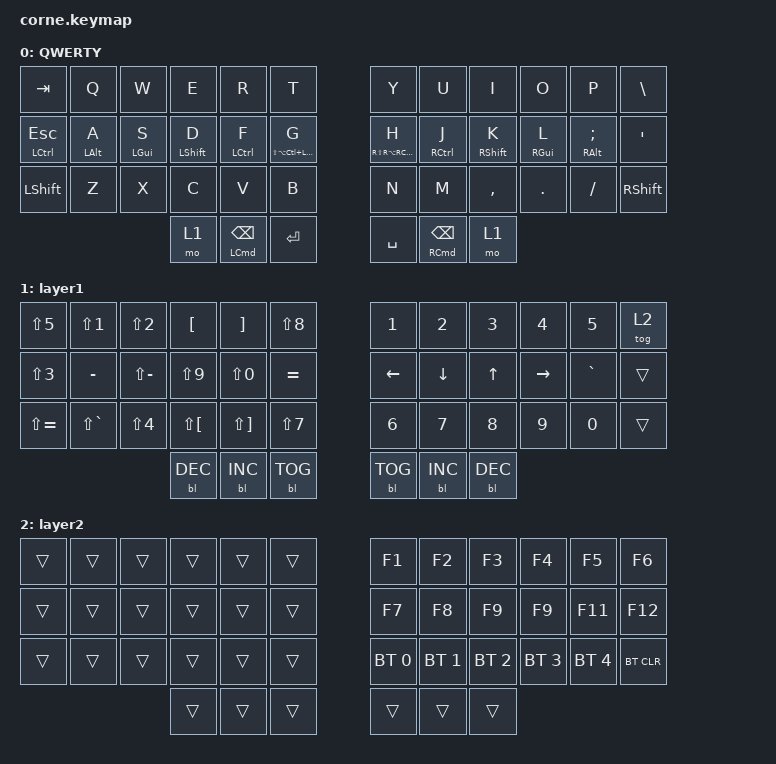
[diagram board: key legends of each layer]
/*
 * Copyright (c) 2020 The ZMK Contributors
 * Jason Biggs
 *
 * SPDX-License-Identifier: MIT
 */

#include <behaviors.dtsi>
#include <dt-bindings/zmk/backlight.h>
#include <dt-bindings/zmk/bt.h>
#include <dt-bindings/zmk/keys.h>

/ {
    /* combos { */
    /*     compatible = "zmk,combos"; */
    /**/
    /*     left-layer2-toggle { */
    /*         bindings = <&tog 2>; */
    /*         key-positions = <37 38>; */
    /*     }; */
    /**/
    /*     right-layer2-toggle { */
    /*         bindings = <&tog 2>; */
    /*         key-positions = <39 40>; */
    /*     }; */
    /* }; */

    behaviors {
        hmr: hmr {
            compatible = "zmk,behavior-hold-tap";
            label = "HMR";
            bindings = <&kp>, <&kp>;

            #binding-cells = <2>;
            tapping-term-ms = <200>;
            quick-tap-ms = <180>;
            flavor = "tap-preferred";
            hold-trigger-on-release;
            hold-trigger-key-positions = <6 7 8 9 10 11 18 19 20 21 22 23 30 31 32 33 34 35 39 40 41 36 37 38>;
        };

        hml: hml {
            compatible = "zmk,behavior-hold-tap";
            label = "HML";
            bindings = <&kp>, <&kp>;

            #binding-cells = <2>;
            hold-trigger-key-positions = <0 1 2 4 5 12 13 14 15 16 17 24 25 26 27 28 29 36 37 38 39 40 41 3>;
            tapping-term-ms = <200>;
            quick-tap-ms = <180>;
            hold-trigger-on-release;
            flavor = "tap-preferred";
        };

        hmrs: hmrs {
            compatible = "zmk,behavior-hold-tap";
            label = "HMRS";
            bindings = <&kp>, <&kp>;

            #binding-cells = <2>;
            quick-tap-ms = <200>;
            tapping-term-ms = <250>;
            flavor = "tap-preferred";
            hold-trigger-on-release;
            hold-trigger-key-positions = <6 7 9 10 11 18 19 20 21 22 23 30 31 32 33 34 35 39 40 41 36 37 38>;
        };

        hmls: hmls {
            compatible = "zmk,behavior-hold-tap";
            label = "HMLS";
            bindings = <&kp>, <&kp>;

            #binding-cells = <2>;
            tapping-term-ms = <250>;
            quick-tap-ms = <200>;
            hold-trigger-key-positions = <0 1 2 3 4 5 12 13 14 15 16 17 24 25 26 27 28 29 36 37 38 39 40 41>;
            hold-trigger-on-release;
            flavor = "tap-preferred";
        };
    };

    combos {
        compatible = "zmk,combos";

        LayerReset {
            bindings = <&to 0>;
            key-positions = <36 41>;
        };

        asdf {
            bindings = <&bt BT_NXT>;
            key-positions = <37 40>;
        };
    };

    keymap {
        compatible = "zmk,keymap";

        QWERTY {
            // -----------------------------------------------------------------------------------------
            // |  TAB |  Q  |  W  |  E  |  R  |  T  |   |  Y  |  U   |  I  |  O  |  P  | BSPC |
            // | CTRL |  A  |  S  |  D  |  F  |  G  |   |  H  |  J   |  K  |  L  |  ;  |  '   |
            // | SHFT |  Z  |  X  |  C  |  V  |  B  |   |  N  |  M   |  ,  |  .  |  /  | ESC  |
            //                    | GUI | LWR | SPC |   | ENT | RSE  | ALT |

            bindings = <
&kp TAB                    &kp Q             &kp W             &kp E              &kp R                         &kp T                          &kp Y                         &kp U                          &kp I               &kp O              &kp P                      &kp BACKSLASH
&hmls LEFT_CONTROL ESCAPE  &hmls LEFT_ALT A  &hmls LEFT_GUI S  &hml LEFT_SHIFT D  &hml LCTRL F                  &hml LS(LA(LC(LEFT_GUI))) G    &hmr RS(RA(RC(RIGHT_GUI))) H  &hmr RCTRL J                   &hmr RIGHT_SHIFT K  &hmrs RIGHT_GUI L  &hmrs RIGHT_ALT SEMICOLON  &kp SQT
&kp LSHFT                  &kp Z             &kp X             &kp C              &kp V                         &kp B                          &kp N                         &kp M                          &kp COMMA           &kp DOT            &kp FSLH                   &kp RIGHT_SHIFT
                                                               &mo 1              &hmls LEFT_COMMAND BACKSPACE  &kp ENTER                      &kp SPACE                     &hmrs RIGHT_COMMAND BACKSPACE  &mo 1
            >;
        };

        layer1 {
            // -----------------------------------------------------------------------------------------
            // |  TAB |  1  |  2  |  3  |  4  |  5  |   |  6  |  7  |  8  |  9  |  0  | BSPC |
            // | BTCLR| BT1 | BT2 | BT3 | BT4 | BT5 |   | LFT | DWN |  UP | RGT |     |      |
            // | SHFT |     |     |     |     |     |   |     |     |     |     |     |      |
            //                    | GUI |     | SPC |   | ENT |     | ALT |

            bindings = <
&kp LS(N5)     &kp LS(N1)     &kp LS(N2)     &kp LBKT      &kp RBKT      &kp LS(N8)    &kp N1      &kp N2      &kp N3      &kp N4     &kp N5     &tog 2
&kp LS(N3)     &kp MINUS      &kp LS(MINUS)  &kp LS(N9)    &kp LS(N0)    &kp EQUAL     &kp LEFT    &kp DOWN    &kp UP      &kp RIGHT  &kp GRAVE  &trans
&kp LS(EQUAL)  &kp LS(GRAVE)  &kp LS(N4)     &kp LS(LBKT)  &kp LS(RBKT)  &kp LS(N7)    &kp N6      &kp N7      &kp N8      &kp N9     &kp N0     &trans
                                             &bl BL_DEC    &bl BL_INC    &bl BL_TOG    &bl BL_TOG  &bl BL_INC  &bl BL_DEC
            >;
        };

        layer2 {
            // -----------------------------------------------------------------------------------------
            // |  TAB |  !  |  @  |  #  |  $  |  %  |   |  ^  |  &  |  *  |  (  |  )  | BSPC |
            // | CTRL |     |     |     |     |     |   |  -  |  =  |  [  |  ]  |  \  |  `   |
            // | SHFT |     |     |     |     |     |   |  _  |  +  |  {  |  }  | "|" |  ~   |
            //                    | GUI |     | SPC |   | ENT |     | ALT |

            bindings = <
&trans  &trans  &trans  &trans  &trans  &trans    &kp F1        &kp F2        &kp F3        &kp F4        &kp F5        &kp F6
&trans  &trans  &trans  &trans  &trans  &trans    &kp F7        &kp F8        &kp F9        &kp F9        &kp F11       &kp F12
&trans  &trans  &trans  &trans  &trans  &trans    &bt BT_SEL 0  &bt BT_SEL 1  &bt BT_SEL 2  &bt BT_SEL 3  &bt BT_SEL 4  &bt BT_CLR
                        &trans  &trans  &trans    &trans        &trans        &trans
            >;
        };
    };
};
